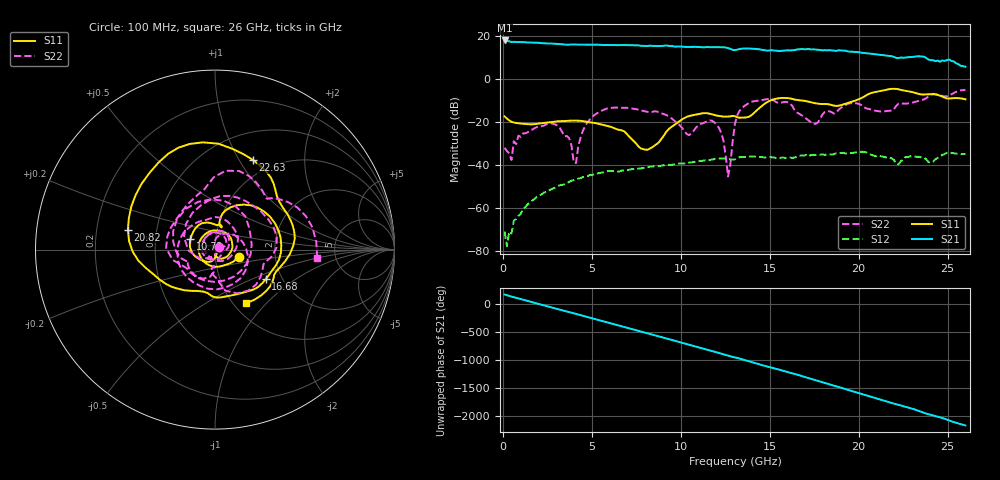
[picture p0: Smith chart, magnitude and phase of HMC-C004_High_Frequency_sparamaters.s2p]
!Hittite Microwave Corporation
!20 Alpha Road
!Chelmsford, MA 01824
!Tel: 978-250-3343
!Fax: 978-250-3373
!Device: HMC-C004, 100MHz-20 GHz, Wideband Driver Amplifier Module
!Misc: Vdd = +12V, Idd = 195 mA, Room Temperature
# GHZ S DB R 50
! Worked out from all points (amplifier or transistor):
!   201 points, 100 MHz to 26 GHz, reference 50 ohm
!   highest |S21| = 18.1 dB at 100 MHz (marker M1)
!   |S21| within 3 dB of that: start of sweep to 10.3 GHz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
!   unconditionally stable (mu >= 1): start of sweep to end of sweep
!   at 4.373 GHz: K = 15.03, MAG = 16.3 dB, |S12| = -45.9 dB
!   at 13.05 GHz: K = 7.33, MAG = 13.7 dB, |S12| = -37.2 dB
!   at 26 GHz: K = 8.28, MAG = 8.1 dB, |S12| = -34.7 dB
!   S11 on the Smith chart (normalised r, x): 100 MHz: 1.30, -0.10; 10.72 GHz: 0.75, +0.09; 16.68 GHz: 1.65, -0.61; 20.82 GHz: 0.34, +0.10; 22.63 GHz: 0.81, +1.14; 26 GHz: 1.14, -0.77
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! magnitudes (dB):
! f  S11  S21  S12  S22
! 100 MHz  -17.2  18.1  -70.8  -31.8
! 229.5 MHz  -18.2  17.9  -77.5  -33.3
! 488.5 MHz  -19.7  17.4  -71.6  -37.5
! 618 MHz  -20.0  17.5  -65.6  -28.8
! 1.136 GHz  -20.6  17.3  -60.2  -25.1
! 2.819 GHz  -19.7  16.6  -50.7  -20.6
! 4.115 GHz  -19.2  16.2  -46.4  -38.9
! 4.503 GHz  -19.4  16.2  -45.4  -23.8
! 5.927 GHz  -21.7  16.0  -42.5  -13.4
! 8.776 GHz  -29.2  15.5  -40.3  -15.3
! 10.72 GHz  -16.6  15.2  -38.4  -24.0
! 12.01 GHz  -16.8  15.0  -36.9  -21.1
! 12.4 GHz  -17.3  15.0  -36.7  -28.5
! 12.66 GHz  -17.3  14.6  -36.9  -45.1
! 13.05 GHz  -17.1  13.6  -37.2  -20.5
! 14.86 GHz  -10.5  13.4  -36.2  -9.1
! 16.68 GHz  -9.7  14.0  -35.4  -16.1
! 17.45 GHz  -10.9  14.0  -35.0  -20.6
! 20.82 GHz  -6.1  11.8  -35.4  -14.3
! 21.73 GHz  -4.5  10.9  -36.3  -14.6
! 22.63 GHz  -5.3  10.2  -36.1  -11.3
! 26 GHz  -9.2  5.9  -34.7  -4.9
